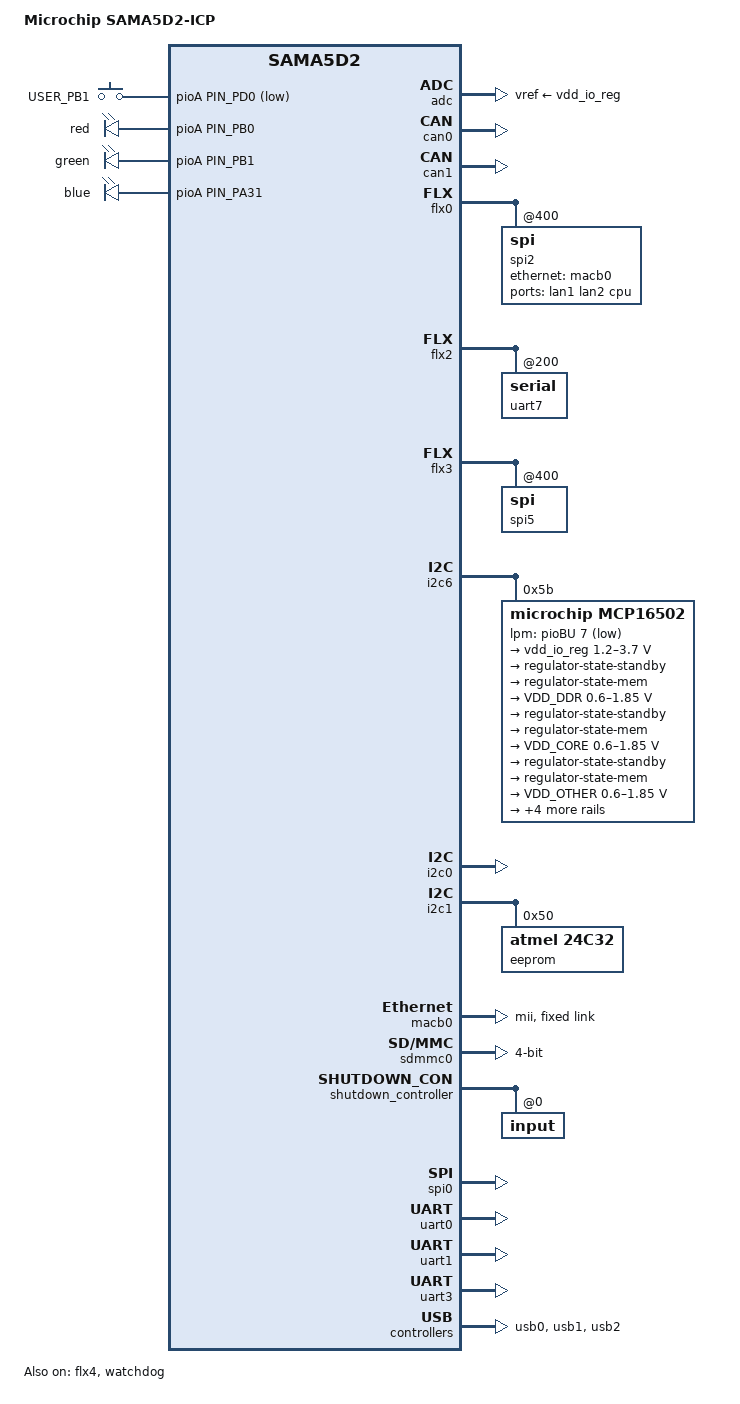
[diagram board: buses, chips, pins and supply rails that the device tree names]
// SPDX-License-Identifier: (GPL-2.0+ OR MIT)
/*
 * at91-sama5d2_icp.dts - Device Tree file for SAMA5D2-ICP board
 *
 *  Copyright (C) 2019 Microchip Technology Inc. and its subsidiaries
 *
 *	Author: Radu Pirea & Razvan Stefanescu,
 *		Codrin Ciubotariu <codrin.ciubotariu@microchip.com>,
 *		Cristian Birsan <cristian.birsan@microchip.com>
 */
/dts-v1/;
#include "sama5d2.dtsi"
#include "sama5d2-pinfunc.h"
#include <dt-bindings/gpio/gpio.h>
#include <dt-bindings/mfd/atmel-flexcom.h>

/ {
	model = "Microchip SAMA5D2-ICP";
	compatible = "microchip,sama5d2-icp", "atmel,sama5d27", "atmel,sama5d2", "atmel,sama5";

	aliases {
		serial0 = &uart0;	/* debug uart0 + mikro BUS 1 */
		serial1 = &uart1;	/* mikro BUS 3 */
		serial3 = &uart3;	/* mikro BUS 2 */
		serial5 = &uart7;	/* flx2 */
		i2c0	= &i2c0;
		i2c1	= &i2c1;
	};

	chosen {
		stdout-path = "serial0:115200n8";
	};

	clocks {
		slow_xtal {
			clock-frequency = <32768>;
		};

		main_xtal {
			clock-frequency = <12000000>;
		};
	};

	gpio_keys {
		compatible = "gpio-keys";

		pinctrl-names = "default";
		pinctrl-0 = <&pinctrl_key_gpio_default>;
		status = "okay";

		sw4 {
			label = "USER_PB1";
			gpios = <&pioA PIN_PD0 GPIO_ACTIVE_LOW>;
			linux,code = <0x104>;
			wakeup-source;
		};
	};

	leds {
		compatible = "gpio-leds";
		pinctrl-names = "default";
		pinctrl-0 = <&pinctrl_led_gpio_default>;
		status = "okay"; /* conflict with pwm0 */

		red {
			label = "red";
			gpios = <&pioA PIN_PB0 GPIO_ACTIVE_HIGH>;
		};

		green {
			label = "green";
			gpios = <&pioA PIN_PB1 GPIO_ACTIVE_HIGH>;
		};

		blue {
			label = "blue";
			gpios = <&pioA PIN_PA31 GPIO_ACTIVE_HIGH>;
			linux,default-trigger = "heartbeat";
		};
	};
};

&adc {
	vddana-supply = <&vdd_io_reg>;
	vref-supply = <&vdd_io_reg>;
	pinctrl-names = "default";
	pinctrl-0 = <&pinctrl_adc_default &pinctrl_adtrg_default>;
	status = "okay";
};

&can0 {
	pinctrl-names = "default";
	pinctrl-0 = <&pinctrl_can0_default>;
	status = "okay";
};

&can1 {
	pinctrl-names = "default";
	pinctrl-0 = <&pinctrl_can1_default>;
	status = "okay";
};

&flx0 { /* mikrobus2 spi */
	atmel,flexcom-mode = <ATMEL_FLEXCOM_MODE_SPI>;
	status = "okay";

	spi2: spi@400 {
		dmas = <0>, <0>;
		cs-gpios = <&pioA PIN_PC0 GPIO_ACTIVE_LOW>;
		pinctrl-names = "default";
		pinctrl-0 = <&pinctrl_mikrobus2_spi &pinctrl_ksz_spi_cs>;
		status = "okay";
		#address-cells = <1>;
		#size-cells = <0>;

		switch0: ksz8563@0 {
			compatible = "microchip,ksz8563";
			reg = <0>;
			reset-gpios = <&pioA PIN_PD4 GPIO_ACTIVE_LOW>;

			spi-max-frequency = <500000>;
			spi-cpha;
			spi-cpol;

			ports {
				#address-cells = <1>;
				#size-cells = <0>;
				port@0 {
					reg = <0>;
					label = "lan1";
				};

				port@1 {
					reg = <1>;
					label = "lan2";
				};

				port@2 {
					reg = <2>;
					label = "cpu";
					ethernet = <&macb0>;
					phy-mode = "mii";
					fixed-link {
						speed = <100>;
						full-duplex;
					};
				};
			};
		};
	};
};

&flx2 {
	atmel,flexcom-mode = <ATMEL_FLEXCOM_MODE_USART>;
	status = "okay";

	uart7: serial@200 {
		pinctrl-0 = <&pinctrl_flx2_default>;
		pinctrl-names = "default";
		atmel,use-dma-rx;
		atmel,use-dma-tx;
		status = "okay"; /* Conflict w/ qspi1. */
	};
};

&flx3 { /* mikrobus1 spi */
	atmel,flexcom-mode = <ATMEL_FLEXCOM_MODE_SPI>;
	status = "okay";

	spi5: spi@400 {
		dmas = <0>, <0>;
		pinctrl-names = "default";
		pinctrl-0 = <&pinctrl_mikrobus1_spi &pinctrl_mikrobus1_spi_cs>;
		status = "okay";
	};
};

&flx4 {
	atmel,flexcom-mode = <ATMEL_FLEXCOM_MODE_TWI>;
	status = "okay";

	i2c6: i2c@600 {
		dmas = <0>, <0>;
		pinctrl-names = "default";
		pinctrl-0 = <&pinctrl_flx4_default>;
		status = "okay";

		mcp16502@5b {
			compatible = "microchip,mcp16502";
			reg = <0x5b>;
			status = "okay";
			lpm-gpios = <&pioBU 7 GPIO_ACTIVE_LOW>;

			regulators {
				vdd_io_reg: VDD_IO {
					regulator-name = "VDD_IO";
					regulator-min-microvolt = <1200000>;
					regulator-max-microvolt = <3700000>;
					regulator-initial-mode = <2>;
					regulator-allowed-modes = <2>, <4>;
					regulator-always-on;

					regulator-state-standby {
						regulator-on-in-suspend;
						regulator-mode = <4>;
					};

					regulator-state-mem {
						regulator-off-in-suspend;
						regulator-mode = <4>;
					};
				};

				VDD_DDR {
					regulator-name = "VDD_DDR";
					regulator-min-microvolt = <600000>;
					regulator-max-microvolt = <1850000>;
					regulator-initial-mode = <2>;
					regulator-allowed-modes = <2>, <4>;
					regulator-always-on;

					regulator-state-standby {
						regulator-on-in-suspend;
						regulator-mode = <4>;
					};

					regulator-state-mem {
						regulator-on-in-suspend;
						regulator-mode = <4>;
					};
				};

				VDD_CORE {
					regulator-name = "VDD_CORE";
					regulator-min-microvolt = <600000>;
					regulator-max-microvolt = <1850000>;
					regulator-initial-mode = <2>;
					regulator-allowed-modes = <2>, <4>;
					regulator-always-on;

					regulator-state-standby {
						regulator-on-in-suspend;
						regulator-mode = <4>;
					};

					regulator-state-mem {
						regulator-off-in-suspend;
						regulator-mode = <4>;
					};
				};

				VDD_OTHER {
					regulator-name = "VDD_OTHER";
					regulator-min-microvolt = <600000>;
					regulator-max-microvolt = <1850000>;
					regulator-initial-mode = <2>;
					regulator-allowed-modes = <2>, <4>;
					regulator-always-on;

					regulator-state-standby {
						regulator-on-in-suspend;
						regulator-mode = <4>;
					};

					regulator-state-mem {
						regulator-off-in-suspend;
						regulator-mode = <4>;
					};
				};

				LDO1 {
					regulator-name = "LDO1";
					regulator-min-microvolt = <1200000>;
					regulator-max-microvolt = <3700000>;
					regulator-always-on;

					regulator-state-standby {
						regulator-on-in-suspend;
					};

					regulator-state-mem {
						regulator-off-in-suspend;
					};
				};

				LDO2 {
					regulator-name = "LDO2";
					regulator-min-microvolt = <1200000>;
					regulator-max-microvolt = <3700000>;
					regulator-always-on;

					regulator-state-standby {
						regulator-on-in-suspend;
					};

					regulator-state-mem {
						regulator-off-in-suspend;
					};
				};

			};
		};
	};
};

&i2c0 { /* mikrobus i2c */
	pinctrl-names = "default";
	pinctrl-0 = <&pinctrl_mikrobus_i2c>;
	status = "okay";
};

&i2c1 {
	dmas = <0>, <0>;
	pinctrl-names = "default";
	pinctrl-0 = <&pinctrl_i2c1_default>;
	status = "okay";

	eeprom@50 {
		compatible = "atmel,24c32";
		reg = <0x50>;
		pagesize = <16>;
		status = "okay";
	};

	eeprom@52 {
		compatible = "atmel,24c32";
		reg = <0x52>;
		pagesize = <16>;
		status = "disabled";
	};

	eeprom@53 {
		compatible = "atmel,24c32";
		reg = <0x53>;
		pagesize = <16>;
		status = "disabled";
	};
};

&macb0 {
	pinctrl-names = "default";
	pinctrl-0 = <&pinctrl_macb0_default &pinctrl_macb0_phy_irq &pinctrl_macb0_rst>;
	phy-mode = "mii";
	status = "okay";

	fixed-link {
		speed = <100>;
		full-duplex;
	};
};

&pioA {
	pinctrl_adc_default: adc_default {
		pinmux = <PIN_PD24__GPIO>,
				<PIN_PD25__GPIO>,
				<PIN_PD26__GPIO>;
		bias-disable;
	};

	/*
	 * The ADTRG pin can work on any edge type.
	 * In here it's being pulled up, so need to
	 * connect it to ground to get an edge e.g.
	 * Trigger can be configured on falling, rise
	 * or any edge, and the pull-up can be changed
	 * to pull-down or left floating according to
	 * needs.
	 */
	pinctrl_adtrg_default: adtrg_default {
		pinmux = <PIN_PD31__ADTRG>;
		bias-pull-up;
	};

	pinctrl_flx4_default: flx4_default {
		pinmux = <PIN_PC28__FLEXCOM4_IO0>,
			 <PIN_PC29__FLEXCOM4_IO1>;
		bias-disable;
	};

	pinctrl_can0_default: can0_default {
		pinmux = <PIN_PC10__CANTX0>,
			 <PIN_PC11__CANRX0>;
		bias-disable;
	};

	pinctrl_can1_default: can1_default {
		pinmux = <PIN_PC26__CANTX1>,
			 <PIN_PC27__CANRX1>;
		bias-disable;
	};

	pinctrl_i2c1_default: i2c1_default {
		pinmux = <PIN_PD19__TWD1>,
			 <PIN_PD20__TWCK1>;
		bias-disable;
	};

	pinctrl_key_gpio_default: key_gpio_default {
		pinmux = <PIN_PD0__GPIO>;
		bias-pull-up;
	};

	pinctrl_led_gpio_default: led_gpio_default {
		pinmux = <PIN_PB0__GPIO>,
			 <PIN_PB1__GPIO>,
			 <PIN_PA31__GPIO>;
		bias-pull-up;
	};

	pinctrl_qspi1_default: qspi1_default {
		pinmux = <PIN_PA6__QSPI1_SCK>,
			 <PIN_PA7__QSPI1_IO0>,
			 <PIN_PA8__QSPI1_IO1>,
			 <PIN_PA9__QSPI1_IO2>,
			 <PIN_PA10__QSPI1_IO3>,
			 <PIN_PA11__QSPI1_CS>;
		bias-disable;
	};

	pinctrl_sdmmc0_default: sdmmc0_default {
		cmd_data {
			pinmux = <PIN_PA1__SDMMC0_CMD>,
				 <PIN_PA2__SDMMC0_DAT0>,
				 <PIN_PA3__SDMMC0_DAT1>,
				 <PIN_PA4__SDMMC0_DAT2>,
				 <PIN_PA5__SDMMC0_DAT3>;
			bias-disable;
		};

		ck_cd {
			pinmux = <PIN_PA0__SDMMC0_CK>,
				 <PIN_PA13__SDMMC0_CD>;
			bias-disable;
		};
	};

	pinctrl_sdmmc1_default: sdmmc1_default {
		cmd_data {
			pinmux = <PIN_PA18__SDMMC1_DAT0>,
				 <PIN_PA19__SDMMC1_DAT1>,
				 <PIN_PA20__SDMMC1_DAT2>,
				 <PIN_PA21__SDMMC1_DAT3>;
			bias-disable;
		};

		ck_cd {
			pinmux = <PIN_PA22__SDMMC1_CK>,
				 <PIN_PA28__SDMMC1_CMD>;
			bias-disable;
		};
	};

	pinctrl_mikrobus_i2c: mikrobus_i2c {
		pinmux = <PIN_PD22__TWCK0>,
			 <PIN_PD21__TWD0>;
		bias-disable;
	};

	pinctrl_mikrobus1_an: mikrobus1_an {
		pinmux = <PIN_PD26__GPIO>;
		bias-disable;
	};

	pinctrl_mikrobus1_rst: mikrobus1_rst {
		pinmux = <PIN_PC5__GPIO>;
		bias-disable;
	};

	pinctrl_mikrobus1_spi_cs: mikrobus1_spi_cs {
		pinmux = <PIN_PC21__FLEXCOM3_IO3>;
		bias-disable;
	};

	pinctrl_mikrobus1_spi: mikrobus1_spi {
		pinmux = <PIN_PC20__FLEXCOM3_IO0>,
			 <PIN_PC19__FLEXCOM3_IO1>,
			 <PIN_PC18__FLEXCOM3_IO2>;
		bias-disable;
	};

	pinctrl_mikrobus1_pwm: mikrobus1_pwm {
		pinmux = <PIN_PC4__TIOB1>;
		bias-disable;
	};

	pinctrl_mikrobus1_int: mikrobus1_int {
		pinmux = <PIN_PC3__GPIO>;
		bias-disable;
	};

	pinctrl_mikrobus1_uart: mikrobus1_uart {
		pinmux = <PIN_PB26__URXD0>,
			 <PIN_PB27__UTXD0>;
		bias-disable;
	};

	pinctrl_mikrobus2_an: mikrobus2_an {
		pinmux = <PIN_PD25__GPIO>;
		bias-disable;
	};

	pinctrl_mikrobus2_rst: mikrobus2_rst {
		pinmux = <PIN_PB24__GPIO>;
		bias-disable;
	};

	pinctrl_mikrobus2_spi_cs: mikrobus2_spi_cs {
		pinmux = <PIN_PB31__FLEXCOM0_IO3>;
		bias-disable;
	};

	pinctrl_mikrobus2_spi: mikrobus2_spi {
		pinmux = <PIN_PB28__FLEXCOM0_IO0>,
			 <PIN_PB29__FLEXCOM0_IO1>,
			 <PIN_PB30__FLEXCOM0_IO2>;
		bias-disable;
	};

	pinctrl_ksz_spi_cs: ksz_spi_cs {
		pinmux = <PIN_PC0__GPIO>;
		bias-disable;
	};

	pinctrl_mikrobus2_pwm: mikrobus2_pwm {
		pinmux = <PIN_PB23__TIOB2>;
		bias-disable;
	};

	pinctrl_mikrobus2_int: mikrobus2_int {
		pinmux = <PIN_PB22__GPIO>;
		bias-disable;
	};

	pinctrl_mikrobus2_uart: mikrobus2_uart {
		pinmux = <PIN_PC12__URXD3>,
			 <PIN_PC13__UTXD3>;
		bias-disable;
	};

	pinctrl_mikrobus3_an: mikrobus3_an {
		pinmux = <PIN_PD24__GPIO>;
		bias-disable;
	};

	pinctrl_mikrobus3_rst: mikrobus3_rst {
		pinmux = <PIN_PB21__GPIO>;
		bias-disable;
	};

	pinctrl_mikrobus3_spi_cs: mikrobus3_spi_cs {
		pinmux = <PIN_PA17__SPI0_NPCS0>;
		bias-disable;
	};

	pinctrl_mikrobus3_spi: mikrobus3_spi {
		pinmux = <PIN_PA14__SPI0_SPCK>,
			 <PIN_PA16__SPI0_MISO>,
			 <PIN_PA15__SPI0_MOSI>;
		bias-disable;
	};

	pinctrl_mikrobus3_pwm: mikrobus3_pwm {
		pinmux = <PIN_PB20__TIOB3>;
		bias-disable;
	};

	pinctrl_mikrobus3_int: mikrobus3_int {
		pinmux = <PIN_PB18__GPIO>;
		bias-disable;
	};

	pinctrl_mikrobus3_uart: mikrobus3_uart {
		pinmux = <PIN_PC7__URXD1>,
			 <PIN_PC8__UTXD1>;
		bias-disable;
	};

	pinctrl_usb_default: usb_default {
		pinmux = <PIN_PC17__GPIO>;
		bias-disable;
	};

	pinctrl_usba_vbus: usba_vbus {
		pinmux = <PIN_PD23__GPIO>;
		bias-disable;
	};

	pinctrl_pwm0_pwm2_default: pwm0_pwm2_default {
		pinmux = <PIN_PB5__PWMH2>,
			 <PIN_PB6__PWML2>;
		bias-pull-up;
	};

	pinctrl_macb0_default: macb0_default {
		pinmux = <PIN_PD1__GRXCK>,
			 <PIN_PD2__GTXER>,
			 <PIN_PD5__GRX2>,
			 <PIN_PD6__GRX3>,
			 <PIN_PD7__GTX2>,
			 <PIN_PD8__GTX3>,
			 <PIN_PD9__GTXCK>,
			 <PIN_PD10__GTXEN>,
			 <PIN_PD11__GRXDV>,
			 <PIN_PD12__GRXER>,
			 <PIN_PD13__GRX0>,
			 <PIN_PD14__GRX1>,
			 <PIN_PD15__GTX0>,
			 <PIN_PD16__GTX1>,
			 <PIN_PD17__GMDC>,
			 <PIN_PD18__GMDIO>;
		bias-disable;
	};

	pinctrl_macb0_phy_irq: macb0_phy_irq {
		pinmux = <PIN_PD3__GPIO>;
		bias-disable;
	};

	pinctrl_macb0_rst: macb0_sw_rst {
		pinmux = <PIN_PD4__GPIO>;
		bias-disable;
	};

	pinctrl_flx2_default: flx2_default {
		pinmux = <PIN_PA6__FLEXCOM2_IO0>,
			 <PIN_PA7__FLEXCOM2_IO1>,
			 <PIN_PA9__FLEXCOM2_IO3>,
			 <PIN_PA10__FLEXCOM2_IO4>;
		bias-disable;
	};
};

&pwm0 {
	pinctrl-names = "default";
	pinctrl-0 = <&pinctrl_pwm0_pwm2_default>;
	status = "disabled"; /* conflict with leds, HSIC */
};

&qspi1 {
	pinctrl-names = "default";
	pinctrl-0 = <&pinctrl_qspi1_default>;
	status = "disabled"; /* Conflict with wilc_pwrseq, flx2 */

	flash@0 {
		#address-cells = <1>;
		#size-cells = <1>;
		compatible = "jedec,spi-nor";
		reg = <0>;
		spi-max-frequency = <80000000>;
		spi-tx-bus-width = <4>;
		spi-rx-bus-width = <4>;
		m25p,fast-read;

		at91bootstrap@0 {
			label = "qspi: at91bootstrap";
			reg = <0x00000000 0x00040000>;
		};

		bootloader@40000 {
			label = "qspi: bootloader";
			reg = <0x00040000 0x000c0000>;
		};

		bootloaderenvred@100000 {
			label = "qspi: bootloader env redundant";
			reg = <0x00100000 0x00040000>;
		};

		bootloaderenv@140000 {
			label = "qspi: bootloader env";
			reg = <0x00140000 0x00040000>;
		};

		dtb@180000 {
			label = "qspi: device tree";
			reg = <0x00180000 0x00080000>;
		};

		kernel@200000 {
			label = "qspi: kernel";
			reg = <0x00200000 0x00600000>;
		};
	};
};

&sdmmc0 {
	no-1-8-v;
	bus-width = <4>;
	pinctrl-names = "default";
	pinctrl-0 = <&pinctrl_sdmmc0_default>;
	status = "okay";
};

&shutdown_controller {
	atmel,shdwc-debouncer = <976>;
	atmel,wakeup-rtc-timer;

	input@0 {
		reg = <0>;
		atmel,wakeup-type = "low";
	};
};

&spi0 {  /* mikrobus3 spi */
	pinctrl-names = "default";
	pinctrl-0 = <&pinctrl_mikrobus3_spi &pinctrl_mikrobus3_spi_cs>;
	status = "okay";
};

&tcb0 {
	timer0: timer@0 {
		compatible = "atmel,tcb-timer";
		reg = <0>;
	};

	timer1: timer@1 {
		compatible = "atmel,tcb-timer";
		reg = <1>;
	};
};

&uart0 {
	pinctrl-names = "default";
	pinctrl-0 = <&pinctrl_mikrobus1_uart>;
	atmel,use-dma-rx;
	atmel,use-dma-tx;
	status = "okay";
};

&uart1 {
	pinctrl-names = "default";
	pinctrl-0 = <&pinctrl_mikrobus3_uart>;
	atmel,use-dma-rx;
	atmel,use-dma-tx;
	status = "okay";
};

&uart3 {
	pinctrl-names = "default";
	pinctrl-0 = <&pinctrl_mikrobus2_uart>;
	atmel,use-dma-rx;
	atmel,use-dma-tx;
	status = "okay";
};

&usb0 {
	atmel,vbus-gpio = <&pioA PIN_PD23 GPIO_ACTIVE_HIGH>;
	pinctrl-names = "default";
	pinctrl-0 = <&pinctrl_usba_vbus>;
	status = "okay";
};

&usb1 {
	num-ports = <3>;
	pinctrl-names = "default";
	pinctrl-0 = <&pinctrl_usb_default>;
	status = "okay";
};

&usb2 {
	phy_type = "hsic";
	status = "okay";
};

&watchdog {
	status = "okay";
};
